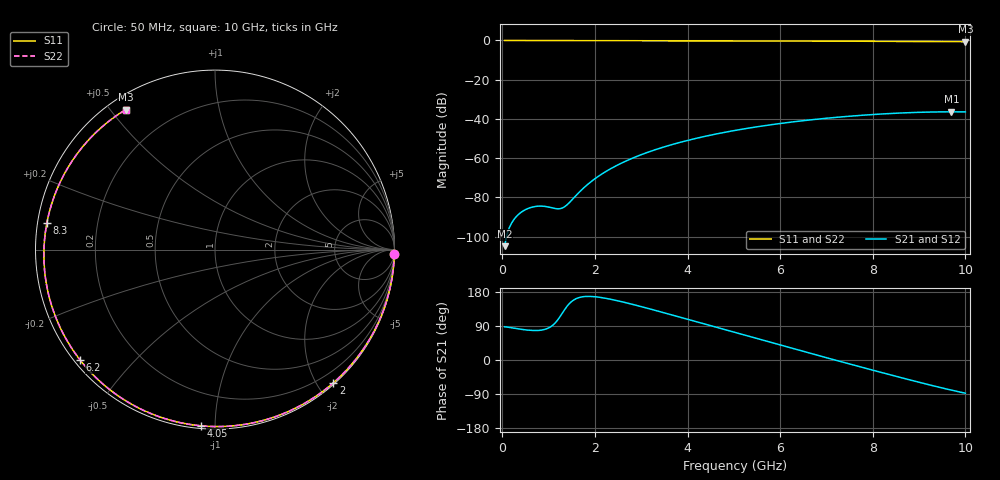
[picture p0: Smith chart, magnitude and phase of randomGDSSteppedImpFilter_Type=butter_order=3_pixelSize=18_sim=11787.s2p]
! freq	dB(S11)	phase(S11)	dB(S12)	phase(S12)
!  dB(S21)	phase(S21)	dB(S22)	phase(S22)
!S-par simulation data
#  GHz  S  DB  R 50
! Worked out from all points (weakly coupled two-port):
!   200 points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, 50 MHz to 10 GHz, reference 50 ohm
!   highest |S21| = -36.38 dB at 9.7 GHz (marker M1); lowest = -104.9 dB at 50 MHz (marker M2)
!   lowest |S11| = -0.7 dB at 10 GHz (marker M3), VSWR 25.61, Z = 2.54 + j27.3 ohm
!   |S11| at or under -10 dB: nowhere
!   |S22| runs from -0.7 to 0.0 dB; largest |S21 - S12| = 0
!   S11 on the Smith chart (normalised r, x): 50 MHz: 2, -91; 2 GHz: 0.02, -2.23; 4.05 GHz: 0.01, -0.92; 6.2 GHz: 0.02, -0.36; 8.3 GHz: 0.03, +0.08; 10 GHz: 0.05, +0.55
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0.05  -0.00 -1.3  -104.89 87.7  -104.89 87.7  -0.00 -1.3
0.75  -0.02 -18.4  -84.54 77.9  -84.54 77.9  -0.02 -18.4
1.55  -0.05 -37.7  -80.11 159.0  -80.11 159.0  -0.05 -37.7
1.75  -0.05 -42.4  -75.35 167.1  -75.35 167.1  -0.05 -42.4
2  -0.06 -48.3  -70.51 167.0  -70.51 167.0  -0.06 -48.3
2.3  -0.07 -55.3  -65.93 161.3  -65.93 161.3  -0.07 -55.3
2.6  -0.08 -62.2  -62.25 153.2  -62.25 153.2  -0.08 -62.2
3  -0.09 -71.3  -58.24 140.9  -58.24 140.9  -0.09 -71.3
3.4  -0.11 -80.3  -54.96 127.7  -54.96 127.7  -0.11 -80.3
4.05  -0.13 -94.5  -50.68 105.8  -50.68 105.8  -0.13 -94.5
4.55  -0.15 -105.3  -48.02 88.7  -48.02 88.7  -0.15 -105.3
5.05  -0.18 -116.0  -45.77 71.6  -45.77 71.6  -0.18 -116.0
5.6  -0.21 -127.8  -43.66 53.0  -43.66 53.0  -0.21 -127.8
6.2  -0.25 -140.7  -41.74 32.7  -41.74 32.7  -0.25 -140.7
6.7  -0.29 -151.6  -40.38 16.0  -40.38 16.0  -0.29 -151.6
7.55  -0.38 -170.9  -38.53 -12.2  -38.53 -12.2  -0.38 -170.9
8.3  -0.46 170.9  -37.35 -36.6  -37.35 -36.6  -0.46 170.9
8.35  -0.47 169.6  -37.28 -38.2  -37.28 -38.2  -0.47 169.6
8.7  -0.51 160.5  -36.89 -49.4  -36.89 -49.4  -0.51 160.5
9.05  -0.55 151.0  -36.61 -60.3  -36.61 -60.3  -0.55 151.0
9.7  -0.64 132.0  -36.38 -79.6  -36.38 -79.6  -0.64 132.0
10  -0.68 122.6  -36.42 -87.7  -36.42 -87.7  -0.68 122.6
